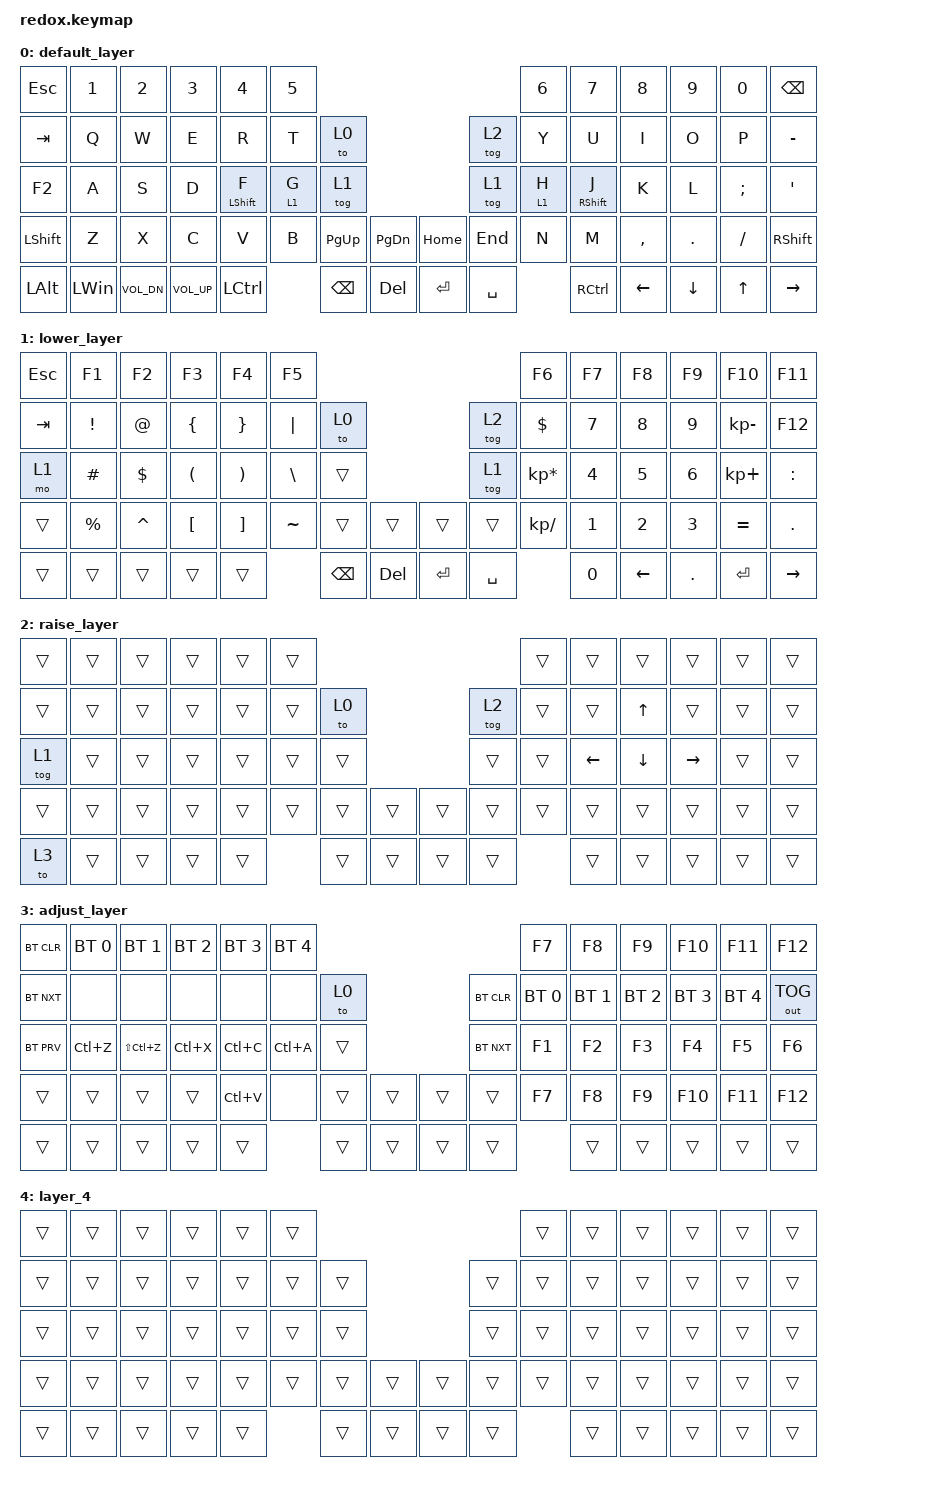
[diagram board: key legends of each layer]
/*
 * Copyright (c) 2021 The ZMK Contributors
 *
 * SPDX-License-Identifier: MIT
 */

#include <behaviors.dtsi>
#include <dt-bindings/zmk/bt.h>
#include <dt-bindings/zmk/keys.h>
#include <dt-bindings/zmk/outputs.h>

&mt {
    flavor = "balanced";
    require-prior-idle-ms = <125>;
    tapping-term-ms = <225>;
};

/ {
    keymap {
        compatible = "zmk,keymap";

        default_layer {
            // --------------------------------------------------------------------------------------------------------------------------------
            // | ESC   |  1  |  2  |   3   |  4  |  5  |                   ---                |  6    |  7    |  8    |  9   | 0  |    BSPC   |
            // | TAB   |  Q  |  W  |   E   |  R  |  T  |   (   |           ---        |  )    |  Y    |  U    |  I    |  O   | P  |     -     |
            // | CTRL  |  A  |  S  |   D   |  F  |  G  |   [   |           ---        |  ]    |  H    |  J    |  K    |  L   | ;  |     '     |
            // | SHIFT |  Z  |  X  |   C   |  V  |  B  | PG_UP | PG_DOWN | --- | HOME | END   |  N    |  M    |  ,    |  .   | /  | SHFT(RET) |
            // | CRTL  | ALT | GUI | LOWER |    GUI    | LOWER | SPACE   | --- | DEL  | SPACE |     RAISE     | LEFT  | DOWN | UP |   RIGHT   |

            bindings = <
&kp ESC         &kp N1        &kp N2        &kp N3           &kp N4            &kp N5                                                         &kp N6   &kp N7             &kp N8     &kp N9    &kp N0         &kp BACKSPACE
&kp TAB         &kp Q         &kp W         &kp E            &kp R             &kp T    &to 0                                      &tog 2     &kp Y    &kp U              &kp I      &kp O     &kp P          &kp MINUS
&kp F2          &kp A         &kp S         &kp D            &mt LEFT_SHIFT F  &lt 1 G  &tog 1                                     &tog 1     &lt 1 H  &mt RIGHT_SHIFT J  &kp K      &kp L     &kp SEMICOLON  &kp SQT
&kp LEFT_SHIFT  &kp Z         &kp X         &kp C            &kp V             &kp B    &kp PG_UP      &kp PAGE_DOWN    &kp HOME   &kp END    &kp N    &kp M              &kp COMMA  &kp DOT   &kp FSLH       &kp RIGHT_SHIFT
&kp LEFT_ALT    &kp LEFT_WIN  &kp C_VOL_DN  &kp C_VOLUME_UP  &kp LEFT_CONTROL           &kp BACKSPACE  &kp DEL          &kp ENTER  &kp SPACE           &kp RCTRL          &kp LEFT   &kp DOWN  &kp UP         &kp RIGHT
            >;
        };

        lower_layer {
            // --------------------------------------------------------------------------------------------------------------------------
            // | ESC   |  1  |  2  |   3   |   4   |  5  |                   ---              |  6  |  7  |   8  |  9   |  0  |  DEL  |
            // | ESC   |  1  |  2  |   3   |   4   |  5  |   (   |           ---        |  )  |  6  |  7  |   8  |  9   |  0  |  DEL  |
            // | CTRL  |  -  |  =  |   [   |   ]   |  \  |   [   |           ---        |  ]  |  *  |  4  |   5  |  6   |  +  |   -   |
            // | SHIFT | ESC | GUI | COPY  | PASTE |     | PG_UP | PG_DOWN | --- | HOME | END |  \  |  1  |   2  |  3   | RET |  RET  |
            // | CRTL  | ALT | GUI | LOWER |     GUI     | LOWER | SPACE   | --- | DEL  |  0  |    RAISE  | LEFT | DOWN | UP  | RIGHT |

            bindings = <
&kp ESCAPE  &kp F1       &kp F2      &kp F3                &kp F4                 &kp F5                                                         &kp F6           &kp F7        &kp F8          &kp F9      &kp F10       &kp F11
&kp TAB     &kp EXCL     &kp AT      &kp LEFT_BRACE        &kp RIGHT_BRACE        &kp PIPE       &to 0                                &tog 2     &kp DOLLAR       &kp N7        &kp N8          &kp N9      &kp KP_MINUS  &kp F12
&mo 1       &kp HASH     &kp DOLLAR  &kp LEFT_PARENTHESIS  &kp RIGHT_PARENTHESIS  &kp BACKSLASH  &trans                               &tog 1     &kp KP_MULTIPLY  &kp N4        &kp N5          &kp N6      &kp KP_PLUS   &kp COLON
&trans      &kp PERCENT  &kp CARET   &kp LEFT_BRACKET      &kp RIGHT_BRACKET      &kp TILDE      &trans         &trans     &trans     &trans     &kp KP_DIVIDE    &kp N1        &kp N2          &kp N3      &kp EQUAL     &kp PERIOD
&trans      &trans       &trans      &trans                &trans                                &kp BACKSPACE  &kp DEL    &kp ENTER  &kp SPACE                   &kp NUMBER_0  &kp LEFT_ARROW  &kp PERIOD  &kp ENTER     &kp RIGHT_ARROW
            >;
        };

        raise_layer {
            // ----------------------------------------------------------------------------------------------------------------------------
            // | ESC   |  1  |  2  |   3   |  4  |  5  |                   ---                |  6   |  7   |  8   |  9   |  0    |  DEL  |
            // | ESC   |  !  |  @  |   #   |  $  |  %  |   (   |           ---        |  )    |  ^   |  &   |  *   |  (   |  )    |  DEL  |
            // | CTRL  |  _  |  +  |   {   |  }  | "|" |   [   |           ---        |  ]    | HOME | PGUP | PRSC | UP   |  `    |   ~   |
            // | SHIFT | ESC | GUI |   (   |  )  |     | PG_UP | PG_DOWN | --- | HOME | END   | END  | PGDN | LEFT | DOWN | RIGHT |  RET  |
            // | CRTL  | ALT | GUI | LOWER |    GUI    | LOWER | SPACE   | --- | DEL  | SPACE |    RAISE    | LEFT | DOWN | UP    | RIGHT |

            bindings = <
&trans  &trans  &trans  &trans  &trans  &trans                                    &trans  &trans          &trans        &trans     &trans  &trans
&trans  &trans  &trans  &trans  &trans  &trans  &to 0                     &tog 2  &trans  &trans          &kp UP_ARROW  &trans     &trans  &trans
&tog 1  &trans  &trans  &trans  &trans  &trans  &trans                    &trans  &trans  &kp LEFT_ARROW  &kp DOWN      &kp RIGHT  &trans  &trans
&trans  &trans  &trans  &trans  &trans  &trans  &trans  &trans    &trans  &trans  &trans  &trans          &trans        &trans     &trans  &trans
&to 3   &trans  &trans  &trans  &trans          &trans  &trans    &trans  &trans          &trans          &trans        &trans     &trans  &trans
            >;
        };

        adjust_layer {
            // -----------------------------------------------------------------------------------------
            // |  F1   |  F2   |    F3    |    F4     |     F5     | F6 |                   ---                | F7  | F8  |  F9  |  F10 | F11 | F12        |
            // | TAB   |       |          |           |            |    | BOOTL |           ---        |  )    | BT1 | BT2 |  BT3 |  BT4 | BT5 | OUTPUT TGL |
            // | CTRL  | MUTE  |  Vol Dn  |  Vol Up   | Play/Pause |    | RESET |           ---        |  ]    | F1  | F2  |  F3  |  F4  | F5  | F6         |
            // | SHIFT | PSCRN |  PSCRN   |   CAPS    |            |    | PG_UP | PG_DOWN | --- | HOME | END   | F7  | F8  |  F9  |  F10 | F11 | F12        |
            // | CRTL  | ALT   |  GUI     |   LOWER   |      GUI        | LOWER | SPACE   | --- | DEL  | SPACE |   RAISE   | LEFT | DOWN | UP  |   RIGHT    |

            bindings = <
&bt BT_CLR  &bt BT_SEL 0  &bt BT_SEL 1   &bt BT_SEL 2  &bt BT_SEL 3  &bt BT_SEL 4                                        &kp F7        &kp F8        &kp F9        &kp F10       &kp F11       &kp F12
&bt BT_NXT  &none         &none          &none         &none         &none         &to 0                     &bt BT_CLR  &bt BT_SEL 0  &bt BT_SEL 1  &bt BT_SEL 2  &bt BT_SEL 3  &bt BT_SEL 4  &out OUT_TOG
&bt BT_PRV  &kp LC(Z)     &kp LS(LC(Z))  &kp LC(X)     &kp LC(C)     &kp LC(A)     &trans                    &bt BT_NXT  &kp F1        &kp F2        &kp F3        &kp F4        &kp F5        &kp F6
&trans      &trans        &trans         &trans        &kp LC(V)     &none         &trans  &trans    &trans  &trans      &kp F7        &kp F8        &kp F9        &kp F10       &kp F11       &kp F12
&trans      &trans        &trans         &trans        &trans                      &trans  &trans    &trans  &trans                    &trans        &trans        &trans        &trans        &trans
            >;
        };

        layer_4 {
            bindings = <
&trans  &trans  &trans  &trans  &trans  &trans                                    &trans  &trans  &trans  &trans  &trans  &trans
&trans  &trans  &trans  &trans  &trans  &trans  &trans                    &trans  &trans  &trans  &trans  &trans  &trans  &trans
&trans  &trans  &trans  &trans  &trans  &trans  &trans                    &trans  &trans  &trans  &trans  &trans  &trans  &trans
&trans  &trans  &trans  &trans  &trans  &trans  &trans  &trans    &trans  &trans  &trans  &trans  &trans  &trans  &trans  &trans
&trans  &trans  &trans  &trans  &trans          &trans  &trans    &trans  &trans          &trans  &trans  &trans  &trans  &trans
            >;
        };
    };
};
